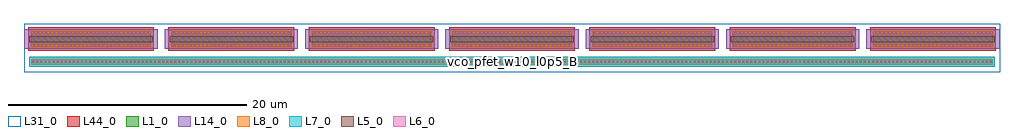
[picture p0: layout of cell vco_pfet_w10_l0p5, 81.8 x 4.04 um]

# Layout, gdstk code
import gdstk
lib = gdstk.Library(unit=1e-6, precision=1e-09)
def R(c, l, rs):  # rectangles x0, y0, x1, y1
    for r in rs: c.add(gdstk.rectangle(r[:2], r[2:], *l))
def A(c, l, x, y, w, h, nx, ny, dx, dy):  # array of equal rectangles
    R(c, l, [(x+i*dx, y+j*dy, x+i*dx+w, y+j*dy+h) for i in range(nx) for j in range(ny)])
L1_0 = (1, 0)
L5_0 = (5, 0)
L6_0 = (6, 0)
L7_0 = (7, 0)
L8_0 = (8, 0)
L14_0 = (14, 0)
L31_0 = (31, 0)
L44_0 = (44, 0)

vco_pfet_w10_l0p5 = lib.new_cell('vco_pfet_w10_l0p5')
A(vco_pfet_w10_l0p5, L1_0, 1.2, 2.46, 10, 1.3, 7, 1, 11.76, 0)
R(vco_pfet_w10_l0p5, L1_0, [(1.2,0.96,81.76,1.46)])
A(vco_pfet_w10_l0p5, L5_0, 1.02, 2.86, 10.36, 0.5, 7, 1, 11.76, 0)
A(vco_pfet_w10_l0p5, L6_0, 1.28, 1.13, 0.16, 0.16, 237, 1, 0.34, 0)
A(vco_pfet_w10_l0p5, L6_0, 1.36, 2.53, 0.16, 0.16, 29, 2, 0.34, 1)
A(vco_pfet_w10_l0p5, L6_0, 13.12, 2.53, 0.16, 0.16, 29, 2, 0.34, 1)
A(vco_pfet_w10_l0p5, L6_0, 24.88, 2.53, 0.16, 0.16, 29, 2, 0.34, 1)
A(vco_pfet_w10_l0p5, L6_0, 36.64, 2.53, 0.16, 0.16, 29, 2, 0.34, 1)
A(vco_pfet_w10_l0p5, L6_0, 48.4, 2.53, 0.16, 0.16, 29, 2, 0.34, 1)
A(vco_pfet_w10_l0p5, L6_0, 60.16, 2.53, 0.16, 0.16, 29, 2, 0.34, 1)
A(vco_pfet_w10_l0p5, L6_0, 71.92, 2.53, 0.16, 0.16, 29, 2, 0.34, 1)
R(vco_pfet_w10_l0p5, L7_0, [(1.02,0.78,81.94,1.64)])
A(vco_pfet_w10_l0p5, L8_0, 1.2, 2.46, 10, 0.26, 7, 2, 11.76, 1.04)
R(vco_pfet_w10_l0p5, L8_0, [(1.2,0.96,81.76,1.46)])
A(vco_pfet_w10_l0p5, L14_0, 0.62, 2.28, 11.16, 1.66, 7, 1, 11.76, 0)
R(vco_pfet_w10_l0p5, L31_0, [(0.58,0.34,82.38,4.38)])
A(vco_pfet_w10_l0p5, L44_0, 0.93, 2.12, 10.54, 1.98, 7, 1, 11.76, 0)
vco_pfet_w10_l0p5.add(gdstk.Label('vco_pfet_w10_l0p5_B', (41.48,1.21), layer=8, texttype=2))
vco_pfet_w10_l0p5.add(gdstk.Label('vco_pfet_w10_l0p5_B', (41.48,2.36), layer=31, texttype=2))

lib.write_gds('vco_pfet_w10_l0p5.gds')
